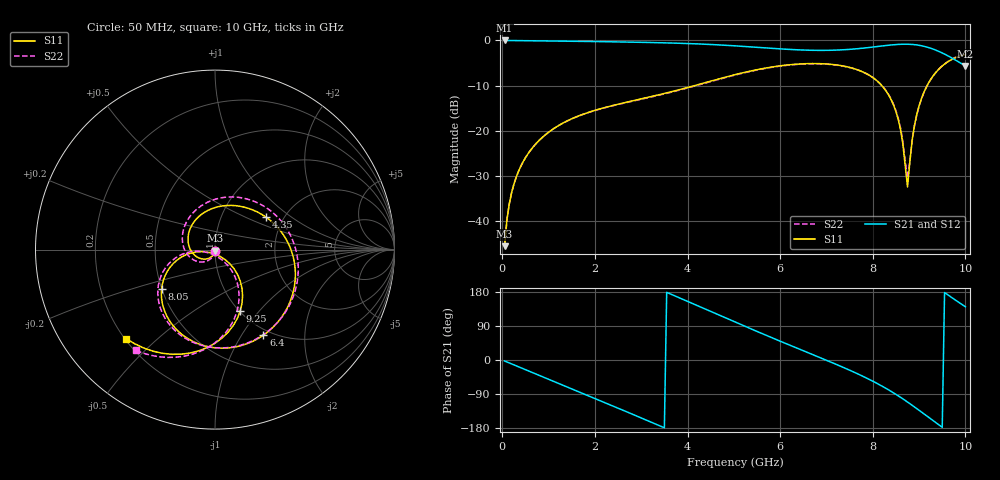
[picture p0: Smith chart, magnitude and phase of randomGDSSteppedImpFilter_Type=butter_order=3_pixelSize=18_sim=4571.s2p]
! freq	dB(S11)	phase(S11)	dB(S12)	phase(S12)
!  dB(S21)	phase(S21)	dB(S22)	phase(S22)
!S-par simulation data
#  GHz  S  DB  R 50
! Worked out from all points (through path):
!   200 points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, 50 MHz to 10 GHz, reference 50 ohm
!   highest |S21| = 0.00 dB at 50 MHz (marker M1); lowest = -5.7 dB at 10 GHz (marker M2)
!   group delay of S21, straight-line fit = 153 ps
!   lowest |S11| = -45.6 dB at 50 MHz (marker M3), VSWR 1.01, Z = 50 - j0.525 ohm
!   |S11| at or under -10 dB: start of sweep to 4.155 GHz; 8.194 GHz to 9.174 GHz (980.5 MHz wide, 11.3 % of centre)
!   |S22| runs from -45.6 to -2.9 dB; largest |S21 - S12| = 0
!   S11 on the Smith chart (normalised r, x): 50 MHz: 1.00, -0.01; 4.35 GHz: 1.63, +0.66; 6.4 GHz: 0.92, -1.25; 8.05 GHz: 0.50, -0.26; 9.25 GHz: 1.01, -0.80; 10 GHz: 0.21, -0.40
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0.05  -45.59 -89.8  -0.00 -2.6  -0.00 -2.6  -45.57 -89.2
0.2  -33.81 -101.1  -0.02 -10.3  -0.02 -10.3  -33.79 -98.1
0.5  -26.00 -119.7  -0.05 -25.5  -0.05 -25.5  -25.98 -112.1
1.15  -19.27 -158.1  -0.12 -58.5  -0.12 -58.5  -19.27 -140.8
1.75  -16.33 166.9  -0.21 -88.9  -0.21 -88.9  -16.36 -167.1
2.5  -14.13 124.4  -0.32 -127.1  -0.32 -127.1  -14.19 158.8
3.4  -11.99 77.1  -0.50 -173.7  -0.50 -173.7  -12.09 113.0
4.35  -9.45 32.5  -0.83 136.2  -0.83 136.2  -9.55 57.9
5.05  -7.53 0.9  -1.21 99.1  -1.21 99.1  -7.60 16.0
5.65  -6.19 -26.3  -1.63 67.6  -1.63 67.6  -6.25 -18.7
6.4  -5.23 -60.5  -2.09 29.5  -2.09 29.5  -5.28 -59.6
6.7  -5.12 -74.3  -2.19 14.4  -2.19 14.4  -5.17 -75.2
7.45  -5.85 -110.4  -2.02 -24.1  -2.02 -24.1  -5.88 -114.3
8.05  -8.61 -143.3  -1.41 -59.1  -1.41 -59.1  -8.59 -147.9
8.35  -12.23 -161.6  -1.05 -79.4  -1.05 -79.4  -12.15 -165.7
8.6  -19.78 -172.9  -0.86 -98.5  -0.86 -98.5  -19.44 -175.1
8.75  -32.45 -103.8  -0.84 -110.8  -0.84 -110.8  -30.55 -115.4
8.85  -22.13 -44.8  -0.89 -119.4  -0.89 -119.4  -22.24 -54.0
8.95  -16.40 -45.1  -1.00 -128.2  -1.00 -128.2  -16.52 -51.5
9.25  -8.65 -67.6  -1.73 -155.3  -1.73 -155.3  -8.67 -70.7
9.65  -4.56 -103.3  -3.56 169.5  -3.56 169.5  -4.49 -102.3
10  -3.09 -134.9  -5.67 140.4  -5.67 140.4  -2.92 -128.2
